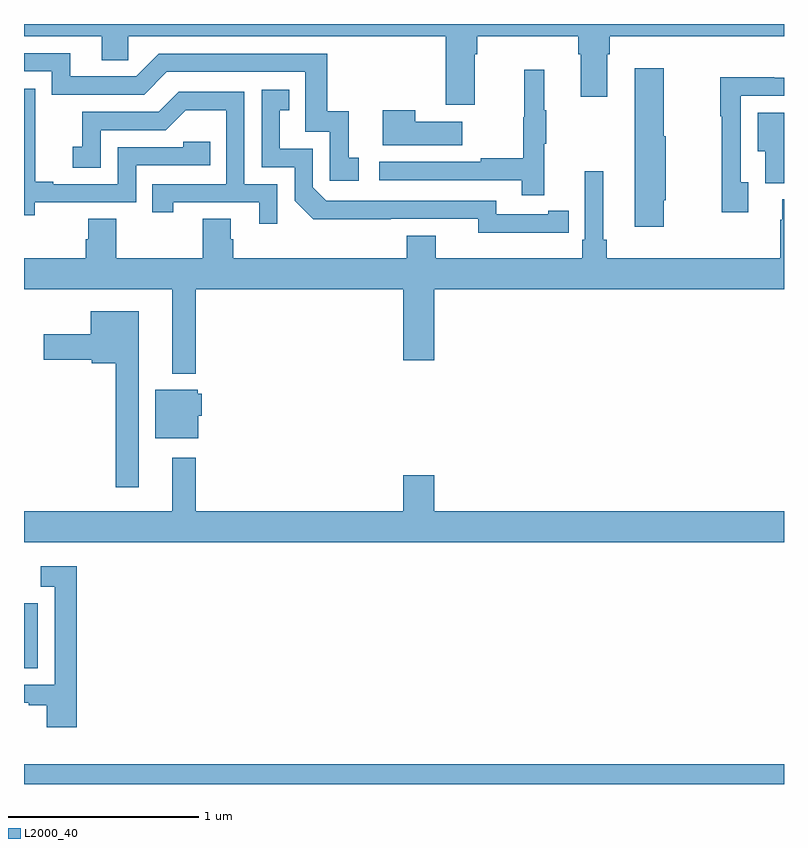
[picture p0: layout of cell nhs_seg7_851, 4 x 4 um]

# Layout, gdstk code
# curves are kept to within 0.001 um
import gdstk
lib = gdstk.Library(unit=1e-6, precision=1e-09)
def R(c, l, rs):  # rectangles x0, y0, x1, y1
    for r in rs: c.add(gdstk.rectangle(r[:2], r[2:], *l))
def P(c, l, *ps):  # polygons
    for p in ps: c.add(gdstk.Polygon(p, *l))
L2000_40 = (2000, 40)

nhs_seg7_851 = lib.new_cell('nhs_seg7_851')
R(nhs_seg7_851, L2000_40, [(175,1010,179,1010.104), (175,1010.608,175.072,1010.952)])
P(nhs_seg7_851, L2000_40, [(177.373,1013.84),(177.386,1013.84),(177.386,1013.936),(177.917,1013.936),(177.917,1013.84),(177.929,1013.84),(177.929,1013.616),(178.069,1013.616),(178.069,1013.84),(178.082,1013.84),(178.082,1013.936),(179,1013.936),(179,1014),(175,1014),(175,1013.936),(175.409,1013.936),(175.409,1013.809),(175.548,1013.809),(175.548,1013.936),(177.221,1013.936),(177.221,1013.574),(177.373,1013.574)],
  [(176.761,1013.295),(176.708,1013.295),(176.708,1013.542),(176.597,1013.542),(176.597,1013.844),(175.71,1013.844),(175.59,1013.724),(175.243,1013.724),(175.243,1013.847),(175,1013.847),(175,1013.751),(175.146,1013.751),(175.146,1013.628),(175.632,1013.628),(175.752,1013.748),(176.481,1013.748),(176.481,1013.433),(176.61,1013.433),(176.61,1013.175),(176.761,1013.175)],
  [(178.368,1013.073),(178.378,1013.073),(178.378,1013.409),(178.368,1013.409),(178.368,1013.767),(178.214,1013.767),(178.214,1012.932),(178.368,1012.932)],
  [(177.737,1013.371),(177.748,1013.371),(177.748,1013.545),(177.737,1013.545),(177.737,1013.758),(177.634,1013.758),(177.634,1013.508),(177.627,1013.508),(177.627,1013.294),(177.403,1013.294),(177.403,1013.274),(176.871,1013.274),(176.871,1013.178),(177.619,1013.178),(177.619,1013.1),(177.737,1013.1)],
  [(178.813,1013.166),(178.773,1013.166),(178.773,1013.622),(179,1013.622),(179,1013.718),(178.949,1013.718),(178.949,1013.72),(178.665,1013.72),(178.665,1013.515),(178.672,1013.515),(178.672,1013.01),(178.813,1013.01)],
  [(175.056,1013.061),(175.59,1013.061),(175.59,1013.256),(175.979,1013.256),(175.979,1013.379),(175.839,1013.379),(175.839,1013.352),(175.494,1013.352),(175.494,1013.157),(175.153,1013.157),(175.153,1013.17),(175.058,1013.17),(175.058,1013.453),(175.059,1013.453),(175.059,1013.659),(175,1013.659),(175,1012.993),(175.056,1012.993)],
  [(177.758,1012.902),(177.866,1012.902),(177.866,1013.018),(177.758,1013.018),(177.758,1012.998),(177.486,1012.998),(177.486,1013.07),(176.592,1013.07),(176.52,1013.142),(176.52,1013.343),(176.347,1013.343),(176.347,1013.547),(176.396,1013.547),(176.396,1013.653),(176.25,1013.653),(176.25,1013.247),(176.424,1013.247),(176.424,1013.07),(176.522,1012.973),(177.39,1012.974),(177.39,1012.901)],
  [(176.334,1013.157),(176.16,1013.157),(176.16,1013.643),(175.814,1013.643),(175.709,1013.538),(175.306,1013.538),(175.306,1013.353),(175.257,1013.353),(175.257,1013.244),(175.404,1013.244),(175.404,1013.442),(175.746,1013.442),(175.85,1013.546),(176.064,1013.546),(176.064,1013.157),(175.675,1013.157),(175.675,1013.01),(175.786,1013.01),(175.786,1013.061),(176.237,1013.061),(176.237,1012.95),(176.334,1012.95)],
  [(177.307,1013.485),(177.059,1013.485),(177.059,1013.545),(176.888,1013.545),(176.888,1013.363),(177.307,1013.363)],
  [(179,1013.533),(178.862,1013.533),(178.862,1013.33),(178.901,1013.33),(178.901,1013.162),(179,1013.162)],
  [(175.903,1012.604),(176.996,1012.604),(176.996,1012.23),(177.16,1012.23),(177.16,1012.604),(179,1012.604),(179,1013.077),(178.991,1013.077),(178.991,1012.97),(178.979,1012.97),(178.979,1012.768),(178.067,1012.768),(178.067,1012.864),(178.048,1012.864),(178.048,1013.224),(177.951,1013.224),(177.951,1012.864),(177.938,1012.864),(177.938,1012.768),(177.166,1012.768),(177.166,1012.885),(177.014,1012.885),(177.014,1012.768),(176.102,1012.768),(176.102,1012.866),(176.089,1012.866),(176.089,1012.976),(175.942,1012.976),(175.942,1012.768),(175.485,1012.768),(175.485,1012.976),(175.337,1012.976),(175.337,1012.866),(175.325,1012.866),(175.325,1012.768),(175,1012.768),(175,1012.604),(175.781,1012.604),(175.781,1012.16),(175.903,1012.16)],
  [(175.603,1012.489),(175.352,1012.489),(175.352,1012.366),(175.104,1012.366),(175.104,1012.232),(175.356,1012.232),(175.356,1012.214),(175.482,1012.214),(175.482,1011.561),(175.603,1011.561)],
  [(175.918,1011.939),(175.936,1011.939),(175.936,1012.053),(175.914,1012.053),(175.914,1012.075),(175.691,1012.075),(175.691,1011.821),(175.918,1011.821)],
  [(179,1011.436),(177.16,1011.436),(177.16,1011.625),(176.996,1011.625),(176.996,1011.436),(175.903,1011.436),(175.903,1011.718),(175.781,1011.718),(175.781,1011.436),(175,1011.436),(175,1011.272),(179,1011.272)],
  [(175.277,1011.145),(175.089,1011.145),(175.089,1011.039),(175.161,1011.039),(175.161,1010.523),(175,1010.523),(175,1010.427),(175.025,1010.427),(175.025,1010.415),(175.121,1010.415),(175.121,1010.298),(175.277,1010.298)])

lib.write_gds('nhs_seg7_851.gds')
